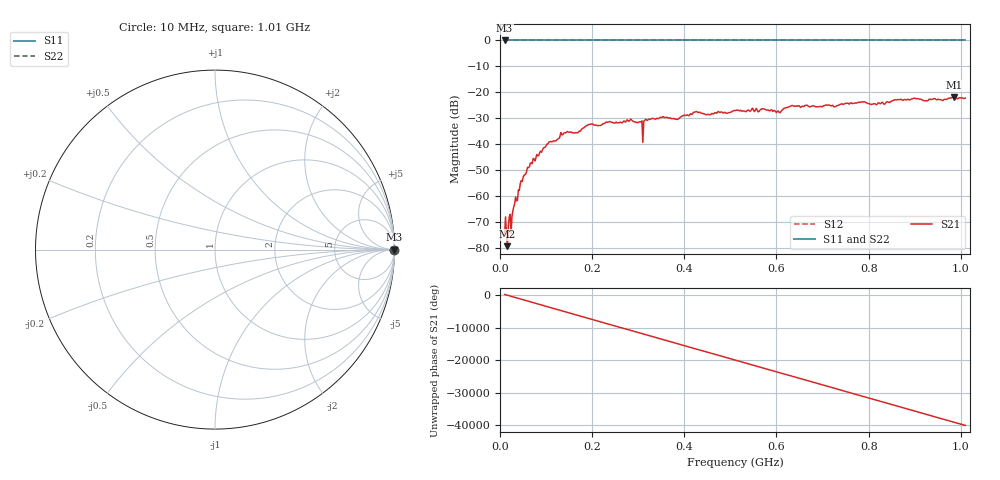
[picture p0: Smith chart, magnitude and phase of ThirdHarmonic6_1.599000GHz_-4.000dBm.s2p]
! 8/16/2025 7:03:29 PM
! C:\ANRITSUVNA\TEMP\TEMP.S2P
! CHANNEL.1
! TR.MEASUREMENT
! RAW.DATA
! RF.CORRECTION.OFF
! AVERAGING.OFF
! IF.BANDWIDTH: 5KHZ
! SWEEPTYPE:  FREQ.SWEEP(Linear)
! Reference Plane Port Info
! PORT:  PORT1  PORT2
! DISTANCE:  0  m  0  m
! TIME:  0  s  0  s
! PHASE.OFFSET:  0  deg.  0  deg.
! LOSS:  0  dB  0  dB
! REF.LOSS:  0  dB  0  dB
! REF.FREQ:  0  Hz  0  Hz
! Power Info
! POWER:  -20  dBm  -20  dBm
! EFF.POWER:  -20  dBm  -20  dBm
! SOURCE.ATTEN:  0  dB  0  dB
! TEST.ATTEN:  0  dB  0  dB
# GHZ S RI R 50.0
! FREQ.GHZ  S11RE  S11IM  S21RE  S21IM  S12RE  S12IM  S22RE  S22IM
!; PortSelection: Port_12
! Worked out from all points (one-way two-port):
!   501 points, 10 MHz to 1.01 GHz, reference 50 ohm
!   highest |S21| = -21.89 dB at 986 MHz (marker M1); lowest = -79.4 dB at 16 MHz (marker M2)
!   lowest |S11| = 0.0 dB at 10 MHz (marker M3)
!   |S11| at or under -10 dB: nowhere
!   |S22| runs from 0.0 to 0.0 dB; largest |S21 - S12| = 1.1
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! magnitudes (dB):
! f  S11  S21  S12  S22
! 10 MHz  0.0  -74.8  0.0  0.0
! 16 MHz  0.0  -79.4  0.0  0.0
! 20 MHz  0.0  -68.1  0.0  0.0
! 30 MHz  0.0  -64.2  0.0  0.0
! 48 MHz  0.0  -54.5  0.0  0.0
! 70 MHz  0.0  -47.5  0.0  0.0
! 106 MHz  0.0  -39.3  0.0  0.0
! 136 MHz  0.0  -36.4  0.0  0.0
! 178 MHz  0.0  -34.1  0.0  0.0
! 194 MHz  0.0  -32.4  0.0  0.0
! 280 MHz  0.0  -31.2  0.0  0.0
! 304 MHz  0.0  -31.4  0.0  0.0
! 306 MHz  0.0  -31.5  0.0  0.0
! 316 MHz  0.0  -30.4  0.0  0.0
! 344 MHz  0.0  -30.2  0.0  0.0
! 510 MHz  0.0  -27.0  0.0  0.0
! 604 MHz  0.0  -27.3  0.0  0.0
! 632 MHz  0.0  -25.3  0.0  0.0
! 678 MHz  0.0  -25.2  0.0  0.0
! 844 MHz  0.0  -23.9  0.0  0.0
! 986 MHz  0.0  -21.9  0.0  0.0
! 1.01 GHz  0.0  -22.2  0.0  0.0
